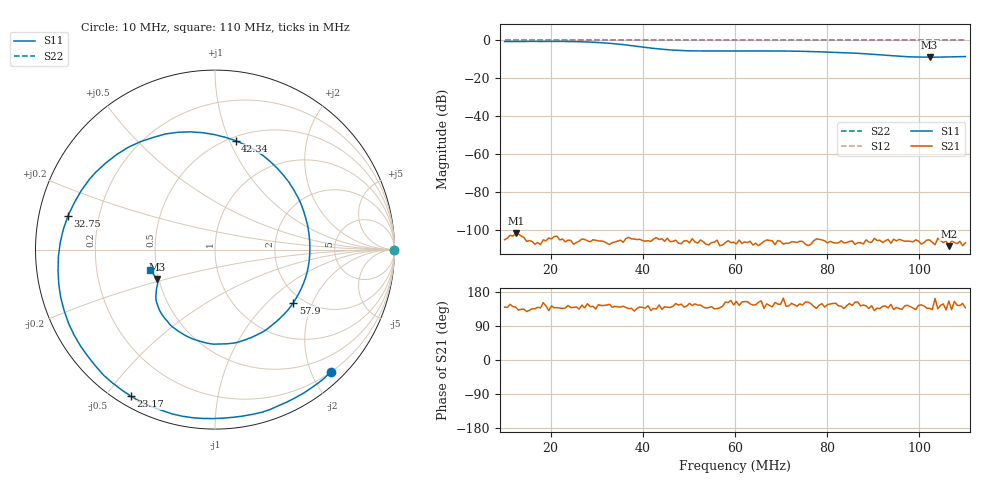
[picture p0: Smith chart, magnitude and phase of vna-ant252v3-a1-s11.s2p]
! Anritsu VNA Master:  Model: MS2034B/10/19/501
! SN:  1337062
! /bd0/ant252v3-a1-s11.s2p
! Existing Calibration Information:
! TYPE:  Current Settings,  Active Cal Settings
! TIME:  01/14/2016 05:08:07 PM,  01/14/2016 04:54:38 PM
! INTERNAL TEMP:  39.8 C,  38.5 C
! # POINTS:  168,  500
! START FREQ:  10.000 MHz,  10.000 MHz
! STOP FREQ:  110.000 MHz,  110.000 MHz
! SOURCE POWER:  High,  High
! IFBW:  100 Hz,  100 Hz
! AVG FACTOR:  4 ,  4
! REF PLANE 1:  0 mm,  0 mm
! REF PLANE 2:  0 mm,  0 mm
! CAL TYPE:  Full S11,  Full S11
! CAL METHOD:  SOLT,  SOLT
! CAL LINE TYPE:  Coax,  Coax
! DUT PORT 1:  K-Conn(M),  K-Conn(M)
! DUT PORT 2:  N-Conn(M),  N-Conn(M)
! CAL STATUS:  OK: Accuracy High,  --
# GHZ S DB R 50.0
! FREQ.GHZ  S11DB  S11A  S21DB  S21A  S12DB  S12A  S22DB  S22A
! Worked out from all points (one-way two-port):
!   168 points, 10 MHz to 110 MHz, reference 50 ohm
!   highest |S21| = -101.80 dB at 12.4 MHz (marker M1); lowest = -108.6 dB at 106.4 MHz (marker M2)
!   lowest |S11| = -8.8 dB at 102.2 MHz (marker M3), VSWR 2.13, Z = 24.5 - j9.39 ohm
!   |S11| at or under -10 dB: nowhere
!   |S22| runs from 0.0 to 0.0 dB; largest |S21 - S12| = 1
!   S11 on the Smith chart (normalised r, x): 10 MHz: 0.21, -2.31; 23.17 MHz: 0.04, -0.58; 32.75 MHz: 0.09, +0.11; 42.34 MHz: 0.54, +1.05; 57.9 MHz: 1.77, -1.46; 110 MHz: 0.46, -0.12
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0.01  -0.57 -46.5  -105.16 139.5  0.00 0.0  0.00 0.0
0.01239521  -0.54 -58.5  -101.80 139.6  0.00 0.0  0.00 0.0
0.01838323  -0.52 -90.6  -105.26 151.4  0.00 0.0  0.00 0.0
0.02317365  -0.52 -119.7  -106.33 137.1  0.00 0.0  0.00 0.0
0.02676647  -0.71 -144.4  -104.78 144.9  0.00 0.0  0.00 0.0
0.02976048  -1.00 -167.6  -105.44 134.5  0.00 0.0  0.00 0.0
0.03275449  -1.51 167.1  -107.66 147.0  0.00 0.0  0.00 0.0
0.03754491  -2.73 124.5  -104.77 136.4  0.00 0.0  0.00 0.0
0.03994012  -3.47 102.0  -105.62 138.7  0.00 0.0  0.00 0.0
0.04233533  -4.19 79.3  -104.80 135.9  0.00 0.0  0.00 0.0
0.04353293  -4.47 68.3  -105.05 145.1  0.00 0.0  0.00 0.0
0.04652695  -5.07 42.4  -106.02 141.7  0.00 0.0  0.00 0.0
0.05011976  -5.46 14.1  -106.85 149.3  0.00 0.0  0.00 0.0
0.05790419  -5.56 -34.3  -106.73 152.7  0.00 0.0  0.00 0.0
0.0602994  -5.57 -46.4  -107.36 154.9  0.00 0.0  0.00 0.0
0.06808383  -5.49 -78.6  -105.77 140.3  0.00 0.0  0.00 0.0
0.07706587  -5.88 -107.6  -105.76 141.4  0.00 0.0  0.00 0.0
0.0848503  -6.60 -128.9  -106.10 149.1  0.00 0.0  0.00 0.0
0.09383234  -8.00 -145.3  -107.06 146.8  0.00 0.0  0.00 0.0
0.1022156  -8.84 -152.6  -105.26 136.4  0.00 0.0  0.00 0.0
0.1064072  -8.70 -156.8  -108.58 155.7  0.00 0.0  0.00 0.0
0.11  -8.48 -162.8  -106.76 137.9  0.00 0.0  0.00 0.0
